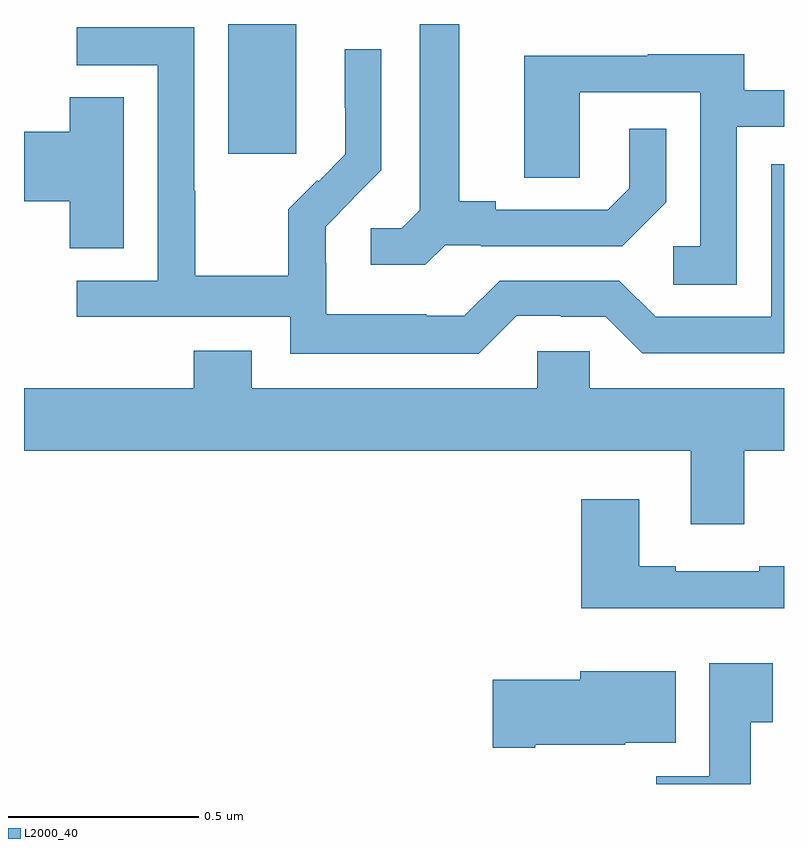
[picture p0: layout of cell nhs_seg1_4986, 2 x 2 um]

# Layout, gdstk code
import gdstk
lib = gdstk.Library(unit=1e-6, precision=1e-09)
def R(c, l, rs):  # rectangles x0, y0, x1, y1
    for r in rs: c.add(gdstk.rectangle(r[:2], r[2:], *l))
def P(c, l, *ps):  # polygons
    for p in ps: c.add(gdstk.Polygon(p, *l))
L2000_40 = (2000, 40)

nhs_seg1_4986 = lib.new_cell('nhs_seg1_4986')
R(nhs_seg1_4986, L2000_40, [(173.537,541.857,173.716,542.199)])
P(nhs_seg1_4986, L2000_40, [(174.108,541.617),(174.202,541.617),(174.202,541.614),(174.574,541.614),(174.69,541.73),(174.69,541.924),(174.593,541.924),(174.593,541.767),(174.536,541.71),(174.241,541.71),(174.241,541.733),(174.145,541.733),(174.145,542.199),(174.041,542.199),(174.041,541.709),(173.994,541.662),(173.913,541.662),(173.913,541.565),(174.056,541.565)],
  [(174.297,541.431),(174.413,541.431),(174.413,541.428),(174.531,541.428),(174.627,541.332),(175,541.332),(175,541.83),(174.966,541.83),(174.966,541.428),(174.663,541.428),(174.567,541.524),(174.252,541.524),(174.159,541.431),(174.059,541.431),(174.059,541.435),(173.796,541.435),(173.796,541.569),(173.794,541.569),(173.794,541.666),(173.868,541.74),(173.867,541.741),(173.94,541.814),(173.94,542.132),(173.844,542.132),(173.844,541.978),(173.846,541.978),(173.846,541.856),(173.775,541.785),(173.772,541.788),(173.695,541.711),(173.695,541.537),(173.451,541.537),(173.451,541.76),(173.448,541.76),(173.448,542.19),(173.139,542.19),(173.139,542.091),(173.352,542.091),(173.352,541.524),(173.139,541.524),(173.139,541.428),(173.7,541.428),(173.7,541.331),(174.197,541.331)],
  [(174.876,541.929),(175,541.929),(175,542.025),(174.895,542.025),(174.895,542.119),(174.641,542.119),(174.641,542.115),(174.317,542.115),(174.317,541.795),(174.462,541.795),(174.462,542.019),(174.78,542.019),(174.78,541.614),(174.708,541.614),(174.708,541.513),(174.876,541.513)],
  [(173.263,542.006),(173.12,542.006),(173.12,541.916),(173,541.916),(173,541.733),(173.12,541.733),(173.12,541.609),(173.263,541.609)],
  [(174.895,541.076),(175,541.076),(175,541.24),(174.489,541.24),(174.489,541.338),(174.351,541.338),(174.351,541.24),(173.599,541.24),(173.599,541.339),(173.447,541.339),(173.447,541.24),(173,541.24),(173,541.076),(174.755,541.076),(174.755,540.882),(174.895,540.882)],
  [(175,540.772),(174.935,540.772),(174.935,540.759),(174.715,540.759),(174.715,540.772),(174.619,540.772),(174.619,540.949),(174.467,540.949),(174.467,540.662),(175,540.662)],
  [(174.913,540.361),(174.97,540.361),(174.97,540.517),(174.803,540.517),(174.803,540.22),(174.664,540.22),(174.664,540.199),(174.913,540.199)],
  [(174.346,540.302),(174.582,540.302),(174.582,540.308),(174.715,540.308),(174.715,540.496),(174.464,540.496),(174.464,540.473),(174.234,540.473),(174.234,540.295),(174.346,540.295)])

lib.write_gds('nhs_seg1_4986.gds')
